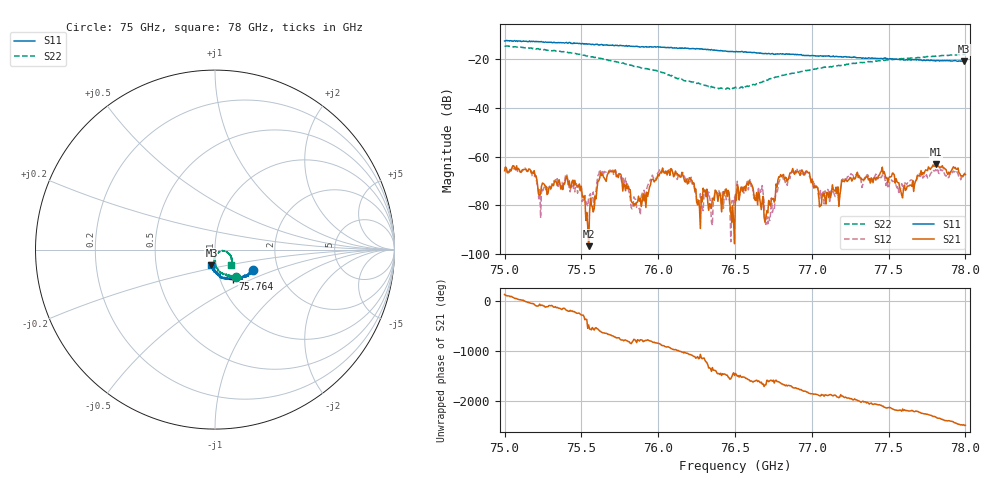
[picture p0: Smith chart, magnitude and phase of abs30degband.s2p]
# Hz S MA R 50
! CMT, C4420, 21421029, 25.1.2/3
! Date: 8/11/2025 11:16:44 AM
! Data: Format (Calibration Info)
! Freq	S33:Mag/Ang(F2)	S43:Mag/Ang(F2)	S34:Mag/Ang(F2)	S44:Mag/Ang(F2)
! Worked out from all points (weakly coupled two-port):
!   500 points, 75 GHz to 78 GHz, reference 50 ohm
!   highest |S21| = -63.13 dB at 77.808 GHz (marker M1); lowest = -96.8 dB at 75.547 GHz (marker M2)
!   lowest |S11| = -20.8 dB at 77.988 GHz (marker M3), VSWR 1.20, Z = 47.3 - j8.44 ohm
!   |S11| at or under -10 dB: start of sweep to end of sweep
!   |S22| runs from -32.3 to -14.4 dB; largest |S21 - S12| = 0.00026
!   S11 on the Smith chart (normalised r, x): 75 GHz: 1.48, -0.35; 75.764 GHz: 1.15, -0.39; 78 GHz: 0.94, -0.17
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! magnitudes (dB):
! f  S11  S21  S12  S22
! 75 GHz  -12.5  -65.8  -64.4  -14.4
! 75.234 GHz  -12.8  -75.3  -85.2  -15.9
! 75.505 GHz  -13.5  -75.7  -78.5  -18.2
! 75.547 GHz  -13.7  -96.8  -76.8  -18.7
! 75.625 GHz  -14.0  -66.6  -66.5  -19.6
! 75.764 GHz  -14.4  -69.9  -71.1  -21.6
! 75.872 GHz  -14.8  -76.3  -81.7  -23.2
! 76.004 GHz  -15.0  -67.9  -66.1  -25.0
! 76.214 GHz  -15.6  -69.6  -68.4  -29.4
! 76.275 GHz  -15.7  -89.5  -75.2  -30.1
! 76.503 GHz  -16.9  -75.6  -79.3  -31.4
! 76.593 GHz  -17.1  -69.8  -70.2  -30.9
! 76.719 GHz  -17.6  -78.0  -84.8  -28.2
! 76.798 GHz  -17.7  -67.4  -68.3  -26.8
! 77.002 GHz  -18.5  -69.2  -69.3  -24.1
! 77.062 GHz  -18.6  -80.0  -77.8  -23.6
! 77.255 GHz  -19.2  -68.7  -67.0  -21.8
! 77.501 GHz  -19.9  -68.9  -73.0  -20.3
! 77.585 GHz  -20.1  -75.8  -71.1  -19.7
! 77.808 GHz  -20.7  -63.1  -65.3  -18.7
! 77.988 GHz  -20.8  -67.6  -67.7  -18.0
! 78 GHz  -20.7  -67.4  -66.5  -18.0
